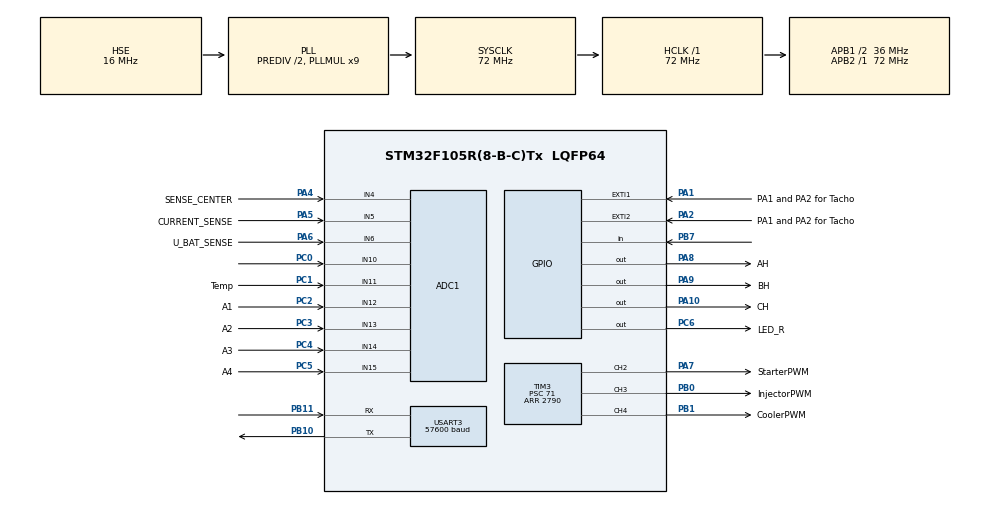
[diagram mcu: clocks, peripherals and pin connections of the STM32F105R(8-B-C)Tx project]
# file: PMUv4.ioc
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ADC1.Channel-11\#ChannelRegularConversion=ADC_CHANNEL_12
ADC1.Channel-12\#ChannelRegularConversion=ADC_CHANNEL_13
ADC1.Channel-13\#ChannelRegularConversion=ADC_CHANNEL_14
ADC1.Channel-14\#ChannelRegularConversion=ADC_CHANNEL_15
ADC1.Channel-15\#ChannelRegularConversion=ADC_CHANNEL_6
ADC1.Channel-16\#ChannelRegularConversion=ADC_CHANNEL_5
ADC1.Channel-17\#ChannelRegularConversion=ADC_CHANNEL_11
ADC1.Channel-18\#ChannelRegularConversion=ADC_CHANNEL_10
ADC1.ContinuousConvMode=ENABLE
ADC1.DataAlign=ADC_DATAALIGN_RIGHT
ADC1.DiscontinuousConvMode=DISABLE
ADC1.EnableAnalogWatchDog=false
ADC1.EnableRegularConversion=ENABLE
ADC1.ExternalTrigConvEdgeChoice=NONE
ADC1.InjNumberOfConversion=0
ADC1.NbrOfConversion=8
ADC1.NbrOfConversionFlag=1
ADC1.Rank-11\#ChannelRegularConversion=1
ADC1.Rank-12\#ChannelRegularConversion=2
ADC1.Rank-13\#ChannelRegularConversion=3
ADC1.Rank-14\#ChannelRegularConversion=4
ADC1.Rank-15\#ChannelRegularConversion=5
ADC1.Rank-16\#ChannelRegularConversion=6
ADC1.Rank-17\#ChannelRegularConversion=7
ADC1.Rank-18\#ChannelRegularConversion=8
ADC1.SamplingTime-11\#ChannelRegularConversion=ADC_SAMPLETIME_1CYCLE_5
ADC1.SamplingTime-12\#ChannelRegularConversion=ADC_SAMPLETIME_1CYCLE_5
ADC1.SamplingTime-13\#ChannelRegularConversion=ADC_SAMPLETIME_1CYCLE_5
ADC1.SamplingTime-14\#ChannelRegularConversion=ADC_SAMPLETIME_1CYCLE_5
ADC1.SamplingTime-15\#ChannelRegularConversion=ADC_SAMPLETIME_1CYCLE_5
ADC1.SamplingTime-16\#ChannelRegularConversion=ADC_SAMPLETIME_1CYCLE_5
ADC1.SamplingTime-17\#ChannelRegularConversion=ADC_SAMPLETIME_1CYCLE_5
ADC1.SamplingTime-18\#ChannelRegularConversion=ADC_SAMPLETIME_1CYCLE_5
ADC1.ScanConvMode=ADC_SCAN_ENABLE
ADC1.master=1
Dma.ADC1.2.Direction=DMA_PERIPH_TO_MEMORY
Dma.ADC1.2.Instance=DMA1_Channel1
Dma.ADC1.2.MemDataAlignment=DMA_MDATAALIGN_WORD
Dma.ADC1.2.MemInc=DMA_MINC_ENABLE
Dma.ADC1.2.Mode=DMA_CIRCULAR
Dma.ADC1.2.PeriphDataAlignment=DMA_PDATAALIGN_HALFWORD
Dma.ADC1.2.PeriphInc=DMA_PINC_DISABLE
Dma.ADC1.2.Priority=DMA_PRIORITY_LOW
Dma.Request0=USART3_RX
Dma.Request1=USART3_TX
Dma.Request2=ADC1
Dma.USART3_RX.0.Direction=DMA_PERIPH_TO_MEMORY
Dma.USART3_RX.0.Instance=DMA1_Channel3
Dma.USART3_RX.0.MemDataAlignment=DMA_MDATAALIGN_BYTE
Dma.USART3_RX.0.MemInc=DMA_MINC_ENABLE
Dma.USART3_RX.0.Mode=DMA_NORMAL
Dma.USART3_RX.0.PeriphDataAlignment=DMA_PDATAALIGN_BYTE
Dma.USART3_RX.0.PeriphInc=DMA_PINC_DISABLE
Dma.USART3_RX.0.Priority=DMA_PRIORITY_HIGH
Dma.USART3_TX.1.Direction=DMA_MEMORY_TO_PERIPH
Dma.USART3_TX.1.Instance=DMA1_Channel2
Dma.USART3_TX.1.MemDataAlignment=DMA_MDATAALIGN_BYTE
Dma.USART3_TX.1.MemInc=DMA_MINC_ENABLE
Dma.USART3_TX.1.Mode=DMA_NORMAL
Dma.USART3_TX.1.PeriphDataAlignment=DMA_PDATAALIGN_BYTE
Dma.USART3_TX.1.PeriphInc=DMA_PINC_DISABLE
Dma.USART3_TX.1.Priority=DMA_PRIORITY_HIGH
Mcu.Family=STM32F1
Mcu.Name=STM32F105R(8-B-C)Tx
Mcu.Package=LQFP64
NVIC.DMA1_Channel1_IRQn=true\:0\:0\:false\:false\:true
NVIC.DMA1_Channel2_IRQn=true\:0\:0\:false\:false\:true
NVIC.DMA1_Channel3_IRQn=true\:0\:0\:false\:false\:true
NVIC.EXTI1_IRQn=true\:0\:0\:false\:false\:true
NVIC.EXTI2_IRQn=true\:0\:0\:false\:false\:true
NVIC.PriorityGroup=NVIC_PRIORITYGROUP_4
NVIC.TIM2_IRQn=true\:0\:0\:false\:false\:true
NVIC.TIM4_IRQn=true\:0\:0\:false\:false\:true
NVIC.USART3_IRQn=true\:0\:0\:false\:false\:true
PA1.GPIO_Label=PA1 and PA2 for Tacho
PA1.GPIO_PuPd=GPIO_PULLUP
PA1.Signal=GPXTI1
PA10.GPIO_Label=CH
PA10.GPIO_Speed=GPIO_SPEED_FREQ_HIGH
PA10.Signal=GPIO_Output
PA13.Mode=Serial_Wire
PA13.Signal=SYS_JTMS-SWDIO
PA14.Mode=Serial_Wire
PA14.Signal=SYS_JTCK-SWCLK
PA2.GPIO_Label=PA1 and PA2 for Tacho
PA2.GPIO_PuPd=GPIO_PULLUP
PA2.Signal=GPXTI2
PA4.GPIO_Label=SENSE_CENTER
PA4.Signal=ADCx_IN4
PA5.GPIO_Label=CURRENT_SENSE
PA5.Signal=ADCx_IN5
PA6.GPIO_Label=U_BAT_SENSE
PA6.Signal=ADCx_IN6
PA7.GPIO_Label=StarterPWM
PA7.Signal=S_TIM3_CH2
PA8.GPIO_Label=AH
PA8.GPIO_Speed=GPIO_SPEED_FREQ_HIGH
PA8.Signal=GPIO_Output
PA9.GPIO_Label=BH
PA9.GPIO_Speed=GPIO_SPEED_FREQ_HIGH
PA9.Signal=GPIO_Output
PB0.GPIO_Label=InjectorPWM
PB0.Signal=S_TIM3_CH3
PB1.GPIO_Label=CoolerPWM
PB1.Signal=S_TIM3_CH4
PB10.Mode=Asynchronous
PB10.Signal=USART3_TX
PB11.Mode=Asynchronous
PB11.Signal=USART3_RX
PB7.GPIO_PuPd=GPIO_PULLDOWN
PB7.Signal=GPIO_Input
PC0.Signal=ADCx_IN10
PC1.GPIO_Label=Temp
PC1.Signal=ADCx_IN11
PC2.GPIO_Label=A1
PC2.Signal=ADCx_IN12
PC3.GPIO_Label=A2
PC3.Signal=ADCx_IN13
PC4.GPIO_Label=A3
PC4.Signal=ADCx_IN14
PC5.GPIO_Label=A4
PC5.Signal=ADCx_IN15
PC6.GPIO_Label=LED_R
PC6.GPIO_Speed=GPIO_SPEED_FREQ_HIGH
PC6.PinState=GPIO_PIN_SET
PC6.Signal=GPIO_Output
PD0-OSC_IN.Mode=HSE-External-Oscillator
PD0-OSC_IN.Signal=RCC_OSC_IN
PD1-OSC_OUT.Mode=HSE-External-Oscillator
PD1-OSC_OUT.Signal=RCC_OSC_OUT
ProjectManager.HeapSize=0x200
ProjectManager.StackSize=0x400
ProjectManager.TargetToolchain=TrueSTUDIO
RCC.ADCPresc=RCC_ADCPCLK2_DIV6
RCC.AHBFreq_Value=72000000
RCC.APB1CLKDivider=RCC_HCLK_DIV2
RCC.APB1Freq_Value=36000000
RCC.APB1TimFreq_Value=72000000
RCC.APB2Freq_Value=72000000
RCC.APB2TimFreq_Value=72000000
RCC.HCLKFreq_Value=72000000
RCC.HSEDivPLL=RCC_HSE_PREDIV_DIV2
RCC.HSE_VALUE=16000000
RCC.PLLMUL=RCC_PLL_MUL9
RCC.PLLSourceVirtual=RCC_PLLSOURCE_HSE
RCC.SYSCLKFreq_VALUE=72000000
RCC.SYSCLKSource=RCC_SYSCLKSOURCE_PLLCLK
RCC.USBFreq_Value=48000000
RCC.VDD_VALUE=3.3
SH.ADCx_IN10.0=ADC1_IN10,IN10
SH.ADCx_IN11.0=ADC1_IN11,IN11
SH.ADCx_IN12.0=ADC1_IN12,IN12
SH.ADCx_IN13.0=ADC1_IN13,IN13
SH.ADCx_IN14.0=ADC1_IN14,IN14
SH.ADCx_IN15.0=ADC1_IN15,IN15
SH.ADCx_IN4.0=ADC1_IN4,IN4
SH.ADCx_IN5.0=ADC1_IN5,IN5
SH.ADCx_IN6.0=ADC1_IN6,IN6
SH.S_TIM3_CH2.0=TIM3_CH2,PWM Generation2 CH2
SH.S_TIM3_CH3.0=TIM3_CH3,PWM Generation3 CH3
SH.S_TIM3_CH4.0=TIM3_CH4,PWM Generation4 CH4
TIM2.Period=1000
TIM2.Prescaler=72
TIM3.Channel-Output\ Compare1\ No\ Output=TIM_CHANNEL_1
TIM3.Channel-PWM\ Generation2\ CH2=TIM_CHANNEL_2
TIM3.Channel-PWM\ Generation3\ CH3=TIM_CHANNEL_3
TIM3.Channel-PWM\ Generation4\ CH4=TIM_CHANNEL_4
TIM3.OCMode_PWM-PWM\ Generation4\ CH4=TIM_OCMODE_PWM1
TIM3.Period=2790
TIM3.Prescaler=71
TIM3.Pulse-Output\ Compare1\ No\ Output=1000
TIM3.Pulse-PWM\ Generation2\ CH2=1000
TIM3.Pulse-PWM\ Generation3\ CH3=1000
TIM3.Pulse-PWM\ Generation4\ CH4=1000
TIM4.Period=4999
TIM4.Prescaler=7200
TIM4.TIM_MasterOutputTrigger=TIM_TRGO_RESET
USART3.BaudRate=57600
USART3.VirtualMode=VM_ASYNC
VP_TIM2_VS_ClockSourceINT.Mode=Internal
VP_TIM3_VS_ClockSourceINT.Mode=Internal
VP_TIM3_VS_no_output1.Mode=Output Compare1 No Output
VP_TIM4_VS_ClockSourceINT.Mode=Internal
board=PMUv4

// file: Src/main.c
/**
  ******************************************************************************
  * File Name          : main.c
  * Description        : Main program body
  ******************************************************************************
  *
  * COPYRIGHT(c) 2017 STMicroelectronics
  *
  * Redistribution and use in source and binary forms, with or without modification,
  * are permitted provided that the following conditions are met:
  *   1. Redistributions of source code must retain the above copyright notice,
  *      this list of conditions and the following disclaimer.
  *   2. Redistributions in binary form must reproduce the above copyright notice,
  *      this list of conditions and the following disclaimer in the documentation
  *      and/or other materials provided with the distribution.
  *   3. Neither the name of STMicroelectronics nor the names of its contributors
  *      may be used to endorse or promote products derived from this software
  *      without specific prior written permission.
  *
  * THIS SOFTWARE IS PROVIDED BY THE COPYRIGHT HOLDERS AND CONTRIBUTORS "AS IS"
  * AND ANY EXPRESS OR IMPLIED WARRANTIES, INCLUDING, BUT NOT LIMITED TO, THE
  * IMPLIED WARRANTIES OF MERCHANTABILITY AND FITNESS FOR A PARTICULAR PURPOSE ARE
  * DISCLAIMED. IN NO EVENT SHALL THE COPYRIGHT HOLDER OR CONTRIBUTORS BE LIABLE
  * FOR ANY DIRECT, INDIRECT, INCIDENTAL, SPECIAL, EXEMPLARY, OR CONSEQUENTIAL
  * DAMAGES (INCLUDING, BUT NOT LIMITED TO, PROCUREMENT OF SUBSTITUTE GOODS OR
  * SERVICES; LOSS OF USE, DATA, OR PROFITS; OR BUSINESS INTERRUPTION) HOWEVER
  * CAUSED AND ON ANY THEORY OF LIABILITY, WHETHER IN CONTRACT, STRICT LIABILITY,
  * OR TORT (INCLUDING NEGLIGENCE OR OTHERWISE) ARISING IN ANY WAY OUT OF THE USE
  * OF THIS SOFTWARE, EVEN IF ADVISED OF THE POSSIBILITY OF SUCH DAMAGE.
  *
  ******************************************************************************
  */
#include "main.h"
#include "stm32f1xx_hal.h"

/* USER CODE BEGIN Includes */
#include <stdbool.h>
#include <math.h>
#include "SES_UART_Driver.h"
/* USER CODE END Includes */

ADC_HandleTypeDef hadc1;
DMA_HandleTypeDef hdma_adc1;

TIM_HandleTypeDef htim2;
TIM_HandleTypeDef htim3;
TIM_HandleTypeDef htim4;

UART_HandleTypeDef huart3;
DMA_HandleTypeDef hdma_usart3_rx;
DMA_HandleTypeDef hdma_usart3_tx;

/* USER CODE BEGIN PV */
/* Private variables ---------------------------------------------------------*/
char data[16];
long int tacho;
long int tacho_result;
uint8_t transmitBuffer[1];
uint8_t receiveBuffer[1];
//cooler
#define COOLER_PWM_OFF 800
#define COOLER_PWM_DUTY 1100//14 A
#define COOLER_PWM_MAX 1800
#define COOLER_PWM_K 5.0
#define COOLER_TEMP_DUTY 40
#define COOLER_TEMP_REG0 60
#define COOLER_DELAY 10
//throttle
#define MIN_Z 920
#define MAX_Z 1600
#define HOLOSTOI 1100

typedef struct{

	uint32_t a1;
	uint32_t a2;
	uint32_t a3;
	uint32_t a4;

	uint32_t u_bat;
	uint32_t current_sense;
	uint32_t temp;

	uint32_t pot;
}ADC_Struct;
ADC_Struct ADC;

typedef struct{

	float a1;
	float a2;
	float a3;
	float a4;

	float current;

	float u_bat;
	float current_sense;
	float current_sense0;
	float temp;

	float pot;

	float smoothCurrent;
	float chgCurrSmooth;
	float cap;

}Param_Struct;
Param_Struct in;
Param_Struct val;
Param_Struct avg;

typedef struct{

	bool init;
	bool startDVS;
	bool charged;
	bool coolerEnabled;
	bool coolerRegulated;
	bool generateing;

}State_Struct;
State_Struct state;

typedef struct{

	float cooler;
	float starter;
	float throttle;
	float start_throttle;

}PWM_Struct;
PWM_Struct pwm;
uint32_t time=0;

typedef struct{

	float target;
	float delta;
	float int_delta;
	float smooth_delta;

}ICE_Struct;
ICE_Struct ice;
/* USER CODE END PV */

void SystemClock_Config(void);
void Error_Handler(void);
static void MX_GPIO_Init(void);
static void MX_DMA_Init(void);
static void MX_TIM3_Init(void);
static void MX_ADC1_Init(void);
static void MX_TIM2_Init(void);
static void MX_USART3_UART_Init(void);
static void MX_TIM4_Init(void);

void HAL_TIM_MspPostInit(TIM_HandleTypeDef *htim);

/* USER CODE BEGIN PFP */
/* Private function prototypes -----------------------------------------------*/

/* USER CODE END PFP */

/* USER CODE BEGIN 0 */
//#define SAINQUAKE
#define DEBUG_TACHO

void pushValuesToOldSES()
{
	bat=val.u_bat;
	smoothCurrent=val.smoothCurrent;
	cap=val.cap;
	chgCurrSmooth=val.chgCurrSmooth;

}

void HAL_TIM_PeriodElapsedCallback(TIM_HandleTypeDef *htim)
{
	if (htim->Instance==TIM4) //check if the interrupt comes from TIM3
	{
		//Цикл считывания тахометра.
		//tacho - переменная, содержащая количество переходов rise-fall за 0.5 секунды.
		//Чтобы преобразовать в Гц, нужно (2*tacho/2)
		//Чтобы преобразовать в RPM, нужно (2*tacho/2)*60
		//??? по результатам всё равно почему то в 2 раза меньше, чем нужно.
		tacho_result=tacho*2;
		rpm = tacho*2*60;
#ifdef DEBUG_TACHO
		sprintf(data,"%ld\n",tacho*2);
		HAL_UART_Transmit_IT(&huart3,data,16);
#endif
		tacho=0;
	}
	if (htim->Instance==TIM2) //check if the interrupt comes from TIM3
	{
		in.a1 = ADC.a1*3.3/4095;
		in.a2 = ADC.a2*3.3/4095;
		in.a3 = ADC.a3*3.3/4095;
		in.a4 = ADC.a4*3.3/4095;

		in.u_bat = ADC.u_bat*3.3/4095;
		in.current_sense = ADC.current_sense*3.3/4095;
		in.temp = ADC.temp*3.3/4095.0;
		in.pot = ADC.pot*3.3/4095.0;

		val.current = (in.a1+in.a2+in.a3+in.a4)*30000.0/820.0/1000.0;
		val.u_bat = 25.0/25.8*in.u_bat*(3+22)/3.0;
		if(state.init)
			val.current_sense0 = (val.current_sense0*199.0 +in.current_sense)/200.0;
		if(HAL_GetTick()>2000)
			state.init = false;
		val.current_sense = fabs( (in.current_sense-val.current_sense0)*100.0/20.0*31.0);
		val.temp =  19.48*in.temp*in.temp-20.09*in.temp+2.87;
		val.pot = in.pot*100.0/3.3;

		avg.current = (avg.current*199.0 + val.current)/200.0;
		avg.u_bat = (avg.u_bat*39.0 + val.u_bat)/40.0;
		avg.current_sense = (avg.current_sense*39.0 + val.current_sense)/40.0;
		avg.temp = (avg.temp*199.0 + val.temp)/200.0;
		avg.pot = (avg.pot*199.0 + val.pot)/200.0;
		//
		state.charged = avg.u_bat>4.1*6;
#ifdef SAINQUAKE
		state.startDVS = avg.pot>50;
#else
		state.startDVS = startDvs>0;
		val.smoothCurrent = ( val.smoothCurrent*9 + val.current )/10;
		val.chgCurrSmooth = ( avg.current_sense*3120.0/4095.0)/10.0 - 165.62;
		val.cap += val.current/200/3600;
		pushValuesToOldSES();
#endif
		state.coolerEnabled = avg.temp>40.0;
		state.coolerRegulated = avg.temp>60.0;
		state.generateing = avg.current_sense>5;
		//PWM regulation
		//starter
		if(state.startDVS ){//&& tmp<1000)
			pwm.starter = (pwm.starter*299.0 +1400.0)/300.0;
			if(state.generateing)
				pwm.starter = 1000;
		}else
			pwm.starter = 1000;
		//throttle
		ice.delta = ice.target - avg.current_sense;
		ice.smooth_delta = (ice.smooth_delta*99.0 +ice.delta)/100.0;
		ice.int_delta += ice.smooth_delta*0.002;

		if(state.startDVS){
			pwm.throttle = HOLOSTOI;
			if(state.generateing){//zavelsa
				ice.target = 40.0;
				pwm.throttle = (HOLOSTOI+ice.int_delta);//1750*PCA0_MKS;
			}else{
				ice.int_delta = 0;
				ice.target=0;
			}
		}else{
			pwm.throttle = MIN_Z;//1200*PCA0_MKS;//;1200*PCA0_MKS;//0//1320
		}
		//cooler routine
				if(state.coolerEnabled && HAL_GetTick()>=COOLER_DELAY*1000){
					pwm.cooler = (pwm.cooler*299.0 +COOLER_PWM_DUTY)/300.0;
				}else{
					pwm.cooler = COOLER_PWM_OFF;//cooler
				}
				if(state.coolerRegulated && HAL_GetTick()>=COOLER_DELAY*1000){
					pwm.cooler = (pwm.cooler*299.0 +(COOLER_PWM_DUTY+(avg.temp-60.0)*COOLER_PWM_K))/300.0;
				}
				if(pwm.cooler>COOLER_PWM_MAX)
					pwm.cooler = COOLER_PWM_MAX;
		//pwm control
		TIM3->CCR4 = pwm.cooler;
		TIM3->CCR3 = pwm.throttle;
		TIM3->CCR2 = pwm.starter;
		//LED control
		if(state.startDVS)
			HAL_GPIO_WritePin(LED_R_GPIO_Port, LED_R_Pin, GPIO_PIN_SET);
		else if(time>500){
			HAL_GPIO_TogglePin(LED_R_GPIO_Port, LED_R_Pin);
			time=0;
		}
		if(state.coolerEnabled && time>50){
			HAL_GPIO_TogglePin(LED_R_GPIO_Port, LED_R_Pin);
			time=0;
		}
		time++;
	}

}
/* USER CODE END 0 */

int main(void)
{

  /* USER CODE BEGIN 1 */
  tacho=0;
  /* USER CODE END 1 */

  /* MCU Configuration----------------------------------------------------------*/

  /* Reset of all peripherals, Initializes the Flash interface and the Systick. */
  HAL_Init();

  /* Configure the system clock */
  SystemClock_Config();

  /* Initialize all configured peripherals */
  MX_GPIO_Init();
  MX_DMA_Init();
  MX_TIM3_Init();
  MX_ADC1_Init();
  MX_TIM2_Init();
  MX_USART3_UART_Init();
  MX_TIM4_Init();

  /* USER CODE BEGIN 2 */
  state.init = true;
  HAL_ADC_Start_DMA(&hadc1,&ADC,8);

	HAL_TIM_PWM_Start(&htim3,TIM_CHANNEL_2);
	HAL_TIM_PWM_Start(&htim3,TIM_CHANNEL_3);
	HAL_TIM_PWM_Start(&htim3,TIM_CHANNEL_4);

	HAL_TIM_Base_Start_IT(&htim2);
	HAL_TIM_Base_Start_IT(&htim4);
  /* USER CODE END 2 */

  /* Infinite loop */
  /* USER CODE BEGIN WHILE */

  HAL_Delay(100);
  HAL_UART_Receive_DMA(&huart3, receiveBuffer, 1);
  while (1)
  {
  /* USER CODE END WHILE */

  /* USER CODE BEGIN 3 */

	  processReadUART();
	  processWriteUART(huart3);
	  //UART0_emulate_isr(0,0,huart3);
	  /*uint8_t str[]="USART Transmit\r\n";
	  HAL_UART_Transmit(&huart3,str,16,0xFFFF);
	  HAL_Delay(100);*/
  }
  /* USER CODE END 3 */

}

/** System Clock Configuration
*/
void SystemClock_Config(void)
{

  RCC_OscInitTypeDef RCC_OscInitStruct;
  RCC_ClkInitTypeDef RCC_ClkInitStruct;
  RCC_PeriphCLKInitTypeDef PeriphClkInit;

    /**Initializes the CPU, AHB and APB busses clocks
    */
  RCC_OscInitStruct.OscillatorType = RCC_OSCILLATORTYPE_HSE;
  RCC_OscInitStruct.HSEState = RCC_HSE_ON;
  RCC_OscInitStruct.HSEPredivValue = RCC_HSE_PREDIV_DIV2;
  RCC_OscInitStruct.HSIState = RCC_HSI_ON;
  RCC_OscInitStruct.Prediv1Source = RCC_PREDIV1_SOURCE_HSE;
  RCC_OscInitStruct.PLL.PLLState = RCC_PLL_ON;
  RCC_OscInitStruct.PLL.PLLSource = RCC_PLLSOURCE_HSE;
  RCC_OscInitStruct.PLL.PLLMUL = RCC_PLL_MUL9;
  RCC_OscInitStruct.PLL2.PLL2State = RCC_PLL_NONE;
  if (HAL_RCC_OscConfig(&RCC_OscInitStruct) != HAL_OK)
  {
    Error_Handler();
  }

    /**Initializes the CPU, AHB and APB busses clocks
    */
  RCC_ClkInitStruct.ClockType = RCC_CLOCKTYPE_HCLK|RCC_CLOCKTYPE_SYSCLK
                              |RCC_CLOCKTYPE_PCLK1|RCC_CLOCKTYPE_PCLK2;
  RCC_ClkInitStruct.SYSCLKSource = RCC_SYSCLKSOURCE_PLLCLK;
  RCC_ClkInitStruct.AHBCLKDivider = RCC_SYSCLK_DIV1;
  RCC_ClkInitStruct.APB1CLKDivider = RCC_HCLK_DIV2;
  RCC_ClkInitStruct.APB2CLKDivider = RCC_HCLK_DIV1;

  if (HAL_RCC_ClockConfig(&RCC_ClkInitStruct, FLASH_LATENCY_2) != HAL_OK)
  {
    Error_Handler();
  }

  PeriphClkInit.PeriphClockSelection = RCC_PERIPHCLK_ADC;
  PeriphClkInit.AdcClockSelection = RCC_ADCPCLK2_DIV6;
  if (HAL_RCCEx_PeriphCLKConfig(&PeriphClkInit) != HAL_OK)
  {
    Error_Handler();
  }

    /**Configure the Systick interrupt time
    */
  HAL_SYSTICK_Config(HAL_RCC_GetHCLKFreq()/1000);

    /**Configure the Systick
    */
  HAL_SYSTICK_CLKSourceConfig(SYSTICK_CLKSOURCE_HCLK);

    /**Configure the Systick interrupt time
    */
  __HAL_RCC_PLLI2S_ENABLE();

  /* SysTick_IRQn interrupt configuration */
  HAL_NVIC_SetPriority(SysTick_IRQn, 0, 0);
}

/* ADC1 init function */
static void MX_ADC1_Init(void)
{

  ADC_ChannelConfTypeDef sConfig;

    /**Common config
    */
  hadc1.Instance = ADC1;
  hadc1.Init.ScanConvMode = ADC_SCAN_ENABLE;
  hadc1.Init.ContinuousConvMode = ENABLE;
  hadc1.Init.DiscontinuousConvMode = DISABLE;
  hadc1.Init.ExternalTrigConv = ADC_SOFTWARE_START;
  hadc1.Init.DataAlign = ADC_DATAALIGN_RIGHT;
  hadc1.Init.NbrOfConversion = 8;
  if (HAL_ADC_Init(&hadc1) != HAL_OK)
  {
    Error_Handler();
  }

    /**Configure Regular Channel
    */
  sConfig.Channel = ADC_CHANNEL_12;
  sConfig.Rank = 1;
  sConfig.SamplingTime = ADC_SAMPLETIME_1CYCLE_5;
  if (HAL_ADC_ConfigChannel(&hadc1, &sConfig) != HAL_OK)
  {
    Error_Handler();
  }

    /**Configure Regular Channel
    */
  sConfig.Channel = ADC_CHANNEL_13;
  sConfig.Rank = 2;
  if (HAL_ADC_ConfigChannel(&hadc1, &sConfig) != HAL_OK)
  {
    Error_Handler();
  }

    /**Configure Regular Channel
    */
  sConfig.Channel = ADC_CHANNEL_14;
  sConfig.Rank = 3;
  if (HAL_ADC_ConfigChannel(&hadc1, &sConfig) != HAL_OK)
  {
    Error_Handler();
  }

    /**Configure Regular Channel
    */
  sConfig.Channel = ADC_CHANNEL_15;
  sConfig.Rank = 4;
  if (HAL_ADC_ConfigChannel(&hadc1, &sConfig) != HAL_OK)
  {
    Error_Handler();
  }

    /**Configure Regular Channel
    */
  sConfig.Channel = ADC_CHANNEL_6;
  sConfig.Rank = 5;
  if (HAL_ADC_ConfigChannel(&hadc1, &sConfig) != HAL_OK)
  {
    Error_Handler();
  }

    /**Configure Regular Channel
    */
  sConfig.Channel = ADC_CHANNEL_5;
  sConfig.Rank = 6;
  if (HAL_ADC_ConfigChannel(&hadc1, &sConfig) != HAL_OK)
  {
    Error_Handler();
  }

    /**Configure Regular Channel
    */
  sConfig.Channel = ADC_CHANNEL_11;
  sConfig.Rank = 7;
  if (HAL_ADC_ConfigChannel(&hadc1, &sConfig) != HAL_OK)
  {
    Error_Handler();
  }

    /**Configure Regular Channel
    */
  sConfig.Channel = ADC_CHANNEL_10;
  sConfig.Rank = 8;
  if (HAL_ADC_ConfigChannel(&hadc1, &sConfig) != HAL_OK)
  {
    Error_Handler();
  }

}

/* TIM2 init function */
static void MX_TIM2_Init(void)
{

  TIM_ClockConfigTypeDef sClockSourceConfig;
  TIM_MasterConfigTypeDef sMasterConfig;

  htim2.Instance = TIM2;
  htim2.Init.Prescaler = 72;
  htim2.Init.CounterMode = TIM_COUNTERMODE_UP;
  htim2.Init.Period = 1000;
  htim2.Init.ClockDivision = TIM_CLOCKDIVISION_DIV1;
  if (HAL_TIM_Base_Init(&htim2) != HAL_OK)
  {
    Error_Handler();
  }

  sClockSourceConfig.ClockSource = TIM_CLOCKSOURCE_INTERNAL;
  if (HAL_TIM_ConfigClockSource(&htim2, &sClockSourceConfig) != HAL_OK)
  {
    Error_Handler();
  }

  sMasterConfig.MasterOutputTrigger = TIM_TRGO_RESET;
  sMasterConfig.MasterSlaveMode = TIM_MASTERSLAVEMODE_DISABLE;
  if (HAL_TIMEx_MasterConfigSynchronization(&htim2, &sMasterConfig) != HAL_OK)
  {
    Error_Handler();
  }

}

/* TIM3 init function */
static void MX_TIM3_Init(void)
{

  TIM_ClockConfigTypeDef sClockSourceConfig;
  TIM_MasterConfigTypeDef sMasterConfig;
  TIM_OC_InitTypeDef sConfigOC;

  htim3.Instance = TIM3;
  htim3.Init.Prescaler = 71;
  htim3.Init.CounterMode = TIM_COUNTERMODE_UP;
  htim3.Init.Period = 2790;
  htim3.Init.ClockDivision = TIM_CLOCKDIVISION_DIV1;
  if (HAL_TIM_Base_Init(&htim3) != HAL_OK)
  {
    Error_Handler();
  }

  sClockSourceConfig.ClockSource = TIM_CLOCKSOURCE_INTERNAL;
  if (HAL_TIM_ConfigClockSource(&htim3, &sClockSourceConfig) != HAL_OK)
  {
    Error_Handler();
  }

  if (HAL_TIM_OC_Init(&htim3) != HAL_OK)
  {
    Error_Handler();
  }

  if (HAL_TIM_PWM_Init(&htim3) != HAL_OK)
  {
    Error_Handler();
  }

  sMasterConfig.MasterOutputTrigger = TIM_TRGO_RESET;
  sMasterConfig.MasterSlaveMode = TIM_MASTERSLAVEMODE_DISABLE;
  if (HAL_TIMEx_MasterConfigSynchronization(&htim3, &sMasterConfig) != HAL_OK)
  {
    Error_Handler();
  }

  sConfigOC.OCMode = TIM_OCMODE_TIMING;
  sConfigOC.Pulse = 1000;
  sConfigOC.OCPolarity = TIM_OCPOLARITY_HIGH;
  sConfigOC.OCFastMode = TIM_OCFAST_DISABLE;
  if (HAL_TIM_OC_ConfigChannel(&htim3, &sConfigOC, TIM_CHANNEL_1) != HAL_OK)
  {
    Error_Handler();
  }

  sConfigOC.OCMode = TIM_OCMODE_PWM1;
  if (HAL_TIM_PWM_ConfigChannel(&htim3, &sConfigOC, TIM_CHANNEL_2) != HAL_OK)
  {
    Error_Handler();
  }

  if (HAL_TIM_PWM_ConfigChannel(&htim3, &sConfigOC, TIM_CHANNEL_3) != HAL_OK)
  {
    Error_Handler();
  }

  if (HAL_TIM_PWM_ConfigChannel(&htim3, &sConfigOC, TIM_CHANNEL_4) != HAL_OK)
  {
    Error_Handler();
  }

  HAL_TIM_MspPostInit(&htim3);

}

/* TIM4 init function */
static void MX_TIM4_Init(void)
{

  TIM_ClockConfigTypeDef sClockSourceConfig;
  TIM_MasterConfigTypeDef sMasterConfig;

  htim4.Instance = TIM4;
  htim4.Init.Prescaler = 7200;
  htim4.Init.CounterMode = TIM_COUNTERMODE_UP;
  htim4.Init.Period = 4999;
  htim4.Init.ClockDivision = TIM_CLOCKDIVISION_DIV1;
  if (HAL_TIM_Base_Init(&htim4) != HAL_OK)
  {
    Error_Handler();
  }

  sClockSourceConfig.ClockSource = TIM_CLOCKSOURCE_INTERNAL;
  if (HAL_TIM_ConfigClockSource(&htim4, &sClockSourceConfig) != HAL_OK)
  {
    Error_Handler();
  }

  sMasterConfig.MasterOutputTrigger = TIM_TRGO_RESET;
  sMasterConfig.MasterSlaveMode = TIM_MASTERSLAVEMODE_DISABLE;
  if (HAL_TIMEx_MasterConfigSynchronization(&htim4, &sMasterConfig) != HAL_OK)
  {
    Error_Handler();
  }

}

/* USART3 init function */
static void MX_USART3_UART_Init(void)
{

  huart3.Instance = USART3;
  huart3.Init.BaudRate = 57600;
  huart3.Init.WordLength = UART_WORDLENGTH_8B;
  huart3.Init.StopBits = UART_STOPBITS_1;
  huart3.Init.Parity = UART_PARITY_NONE;
  huart3.Init.Mode = UART_MODE_TX_RX;
  huart3.Init.HwFlowCtl = UART_HWCONTROL_NONE;
  huart3.Init.OverSampling = UART_OVERSAMPLING_16;
  if (HAL_UART_Init(&huart3) != HAL_OK)
  {
    Error_Handler();
  }

}

static void MX_DMA_Init(void)
{
  /* DMA controller clock enable */
  __HAL_RCC_DMA1_CLK_ENABLE();

  /* DMA interrupt init */
  /* DMA1_Channel1_IRQn interrupt configuration */
  HAL_NVIC_SetPriority(DMA1_Channel1_IRQn, 0, 0);
  HAL_NVIC_EnableIRQ(DMA1_Channel1_IRQn);
  /* DMA1_Channel2_IRQn interrupt configuration */
  HAL_NVIC_SetPriority(DMA1_Channel2_IRQn, 0, 0);
  HAL_NVIC_EnableIRQ(DMA1_Channel2_IRQn);
  /* DMA1_Channel3_IRQn interrupt configuration */
  HAL_NVIC_SetPriority(DMA1_Channel3_IRQn, 0, 0);
  HAL_NVIC_EnableIRQ(DMA1_Channel3_IRQn);

}

/** Configure pins as
        * Analog
        * Input
        * Output
        * EVENT_OUT
        * EXTI
*/
static void MX_GPIO_Init(void)
{

  GPIO_InitTypeDef GPIO_InitStruct;

  /* GPIO Ports Clock Enable */
  __HAL_RCC_GPIOD_CLK_ENABLE();
  __HAL_RCC_GPIOC_CLK_ENABLE();
  __HAL_RCC_GPIOA_CLK_ENABLE();
  __HAL_RCC_GPIOB_CLK_ENABLE();

  /*Configure GPIO pin Output Level */
  HAL_GPIO_WritePin(LED_R_GPIO_Port, LED_R_Pin, GPIO_PIN_SET);

  /*Configure GPIO pin Output Level */
  HAL_GPIO_WritePin(GPIOA, AH_Pin|BH_Pin|CH_Pin, GPIO_PIN_RESET);

  /*Configure GPIO pins : PA1_and_PA2_for_Tacho_Pin PA1_and_PA2_for_TachoA2_Pin */
  GPIO_InitStruct.Pin = PA1_and_PA2_for_Tacho_Pin|PA1_and_PA2_for_TachoA2_Pin;
  GPIO_InitStruct.Mode = GPIO_MODE_IT_RISING;
  GPIO_InitStruct.Pull = GPIO_PULLUP;
  HAL_GPIO_Init(GPIOA, &GPIO_InitStruct);

  /*Configure GPIO pin : LED_R_Pin */
  GPIO_InitStruct.Pin = LED_R_Pin;
  GPIO_InitStruct.Mode = GPIO_MODE_OUTPUT_PP;
  GPIO_InitStruct.Speed = GPIO_SPEED_FREQ_HIGH;
  HAL_GPIO_Init(LED_R_GPIO_Port, &GPIO_InitStruct);

  /*Configure GPIO pins : AH_Pin BH_Pin CH_Pin */
  GPIO_InitStruct.Pin = AH_Pin|BH_Pin|CH_Pin;
  GPIO_InitStruct.Mode = GPIO_MODE_OUTPUT_PP;
  GPIO_InitStruct.Speed = GPIO_SPEED_FREQ_HIGH;
  HAL_GPIO_Init(GPIOA, &GPIO_InitStruct);

  /*Configure GPIO pin : PB7 */
  GPIO_InitStruct.Pin = GPIO_PIN_7;
  GPIO_InitStruct.Mode = GPIO_MODE_INPUT;
  GPIO_InitStruct.Pull = GPIO_PULLDOWN;
  HAL_GPIO_Init(GPIOB, &GPIO_InitStruct);

  /* EXTI interrupt init*/
  HAL_NVIC_SetPriority(EXTI1_IRQn, 0, 0);
  HAL_NVIC_EnableIRQ(EXTI1_IRQn);

  HAL_NVIC_SetPriority(EXTI2_IRQn, 0, 0);
  HAL_NVIC_EnableIRQ(EXTI2_IRQn);

}

/* USER CODE BEGIN 4 */

void HAL_UART_RxCpltCallback(UART_HandleTypeDef *huart) {
 /* here we consume the current value of rxChar */
 UART0_emulate_isr(1,receiveBuffer[0],huart3);
 /* set up to receive another char */
 HAL_UART_Receive_DMA(&huart3, &receiveBuffer, 1);
}

/* USER CODE END 4 */

void Error_Handler(void)
{
  while(1)
  {
  }
}

/************************ (C) COPYRIGHT STMicroelectronics *****END OF FILE****/
